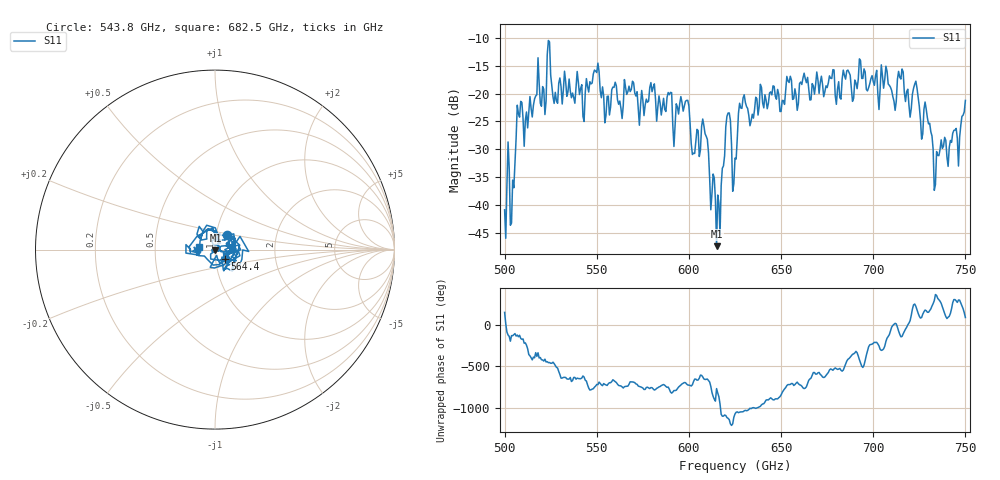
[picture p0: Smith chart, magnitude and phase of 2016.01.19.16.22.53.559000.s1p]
!Created with skrf (http://scikit-rf.org).
# GHz S RI R 50.0
!freq ReS11 ImS11
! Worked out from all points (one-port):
!   401 points, 500 GHz to 750 GHz, reference 50 ohm
!   lowest |S11| = -47.4 dB at 615 GHz (marker M1), VSWR 1.01, Z = 50.3 - j0.332 ohm
!   |S11| at or under -10 dB: start of sweep to end of sweep
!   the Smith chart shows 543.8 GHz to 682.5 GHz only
!   S11 on the Smith chart (normalised r, x): 543.8 GHz: 1.12, +0.18; 564.4 GHz: 1.11, -0.12; 682.5 GHz: 0.84, +0.02
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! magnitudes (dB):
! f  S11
! 500 GHz  -40.9
! 504.4 GHz  -35.5
! 508.1 GHz  -24.2
! 521.2 GHz  -19.2
! 524.4 GHz  -10.7
! 527.5 GHz  -19.8
! 531.2 GHz  -21.9
! 543.8 GHz  -19.9
! 550 GHz  -16.2
! 562.5 GHz  -21.3
! 564.4 GHz  -22.1
! 593.8 GHz  -22.4
! 598.8 GHz  -21.2
! 602.5 GHz  -30.7
! 608.8 GHz  -27.2
! 615 GHz  -47.4
! 616.2 GHz  -39.6
! 621.2 GHz  -23.5
! 625 GHz  -31.6
! 628.8 GHz  -22.6
! 656.2 GHz  -21.0
! 682.5 GHz  -21.0
! 687.5 GHz  -16.7
! 715 GHz  -17.4
! 718.8 GHz  -19.2
! 723.1 GHz  -17.8
! 734.4 GHz  -30.4
! 750 GHz  -21.2
